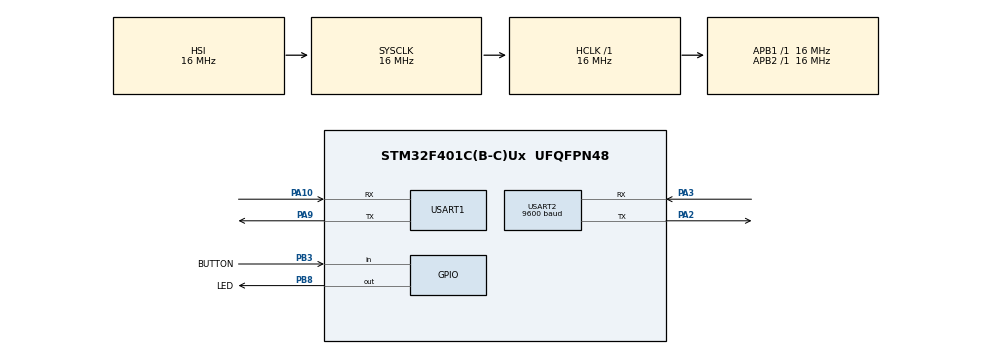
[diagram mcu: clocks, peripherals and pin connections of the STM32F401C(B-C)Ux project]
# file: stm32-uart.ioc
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Mcu.Family=STM32F4
Mcu.Name=STM32F401C(B-C)Ux
Mcu.Package=UFQFPN48
NVIC.PriorityGroup=NVIC_PRIORITYGROUP_4
PA10.Mode=Asynchronous
PA10.Signal=USART1_RX
PA2.Mode=Asynchronous
PA2.Signal=USART2_TX
PA3.Mode=Asynchronous
PA3.Signal=USART2_RX
PA9.Mode=Asynchronous
PA9.Signal=USART1_TX
PB3.GPIO_Label=BUTTON
PB3.GPIO_PuPd=GPIO_PULLDOWN
PB3.Signal=GPIO_Input
PB8.GPIO_Label=LED
PB8.Signal=GPIO_Output
ProjectManager.HeapSize=0x200
ProjectManager.StackSize=0x400
ProjectManager.TargetToolchain=STM32CubeIDE
RCC.AHBFreq_Value=16000000
RCC.APB1Freq_Value=16000000
RCC.APB2Freq_Value=16000000
RCC.CortexFreq_Value=16000000
RCC.HSE_VALUE=25000000
RCC.HSI_VALUE=16000000
RCC.LSE_VALUE=32768
RCC.SYSCLKFreq_VALUE=16000000
RCC.VCOOutputFreq_Value=192000000
USART1.VirtualMode=VM_ASYNC
USART2.BaudRate=9600
USART2.VirtualMode=VM_ASYNC
board=custom

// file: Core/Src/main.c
/* USER CODE BEGIN Header */
/**
  ******************************************************************************
  * @file           : main.c
  * @brief          : Main program body
  ******************************************************************************
  * @attention
  *
  * Copyright (c) 2026 STMicroelectronics.
  * All rights reserved.
  *
  * This software is licensed under terms that can be found in the LICENSE file
  * in the root directory of this software component.
  * If no LICENSE file comes with this software, it is provided AS-IS.
  *
  ******************************************************************************
  */
/* USER CODE END Header */
#include "main.h"

/* USER CODE BEGIN Includes */
#include <stdio.h>
/* USER CODE END Includes */

UART_HandleTypeDef huart1;
UART_HandleTypeDef huart2;

/* USER CODE BEGIN PV */
#define DEBOUNCE_DELAY_MS 50
#define CMD_LED_ON  '+'
#define CMD_LED_OFF '-'
/* USER CODE END PV */

void SystemClock_Config(void);
static void MX_GPIO_Init(void);
static void MX_USART1_UART_Init(void);
static void MX_USART2_UART_Init(void);
/* USER CODE BEGIN PFP */
void setup(void);
void loop(void);
/* USER CODE END PFP */

/* USER CODE BEGIN 0 */
int __io_putchar(int ch) {
    HAL_UART_Transmit(&huart1, (uint8_t *)&ch, 1, 0xFFFF);
    return ch;
}
/* USER CODE END 0 */

int main(void)
{

  /* MCU Configuration--------------------------------------------------------*/

  /* Reset of all peripherals, Initializes the Flash interface and the Systick. */
  HAL_Init();

  /* Configure the system clock */
  SystemClock_Config();

  /* Initialize all configured peripherals */
  MX_GPIO_Init();
  MX_USART1_UART_Init();
  MX_USART2_UART_Init();

  /* Infinite loop */
  /* USER CODE BEGIN WHILE */

  uint8_t rx_byte = 0;
  GPIO_PinState last_btn_state = GPIO_PIN_RESET;
  uint32_t last_debounce_time = 0;
  HAL_GPIO_WritePin(LED_GPIO_Port, LED_Pin, GPIO_PIN_RESET);

  while (1)
  {
      uint32_t now = HAL_GetTick();
      GPIO_PinState btn_state = HAL_GPIO_ReadPin(BUTTON_GPIO_Port, BUTTON_Pin);
      if (btn_state != last_btn_state) {
          if ((now - last_debounce_time) > DEBOUNCE_DELAY_MS) {
              last_debounce_time = now;

              const uint8_t cmd = (btn_state == GPIO_PIN_SET) ? CMD_LED_ON : CMD_LED_OFF;
              printf("Send uart: %c\r\n", cmd);
              // send 1 byte (10 ms timeout - min delay time)
              HAL_UART_Transmit(&huart2, &cmd, 1, 10);
              last_btn_state = btn_state;
          }
      }

      if (HAL_UART_Receive(&huart2, &rx_byte, 1, 1) == HAL_OK) {
          printf("Got: 0x%02X ('%c') \r\n", rx_byte, rx_byte);
          if (CMD_LED_ON == rx_byte) {
              HAL_GPIO_WritePin(LED_GPIO_Port, LED_Pin, GPIO_PIN_SET);
          } else if (CMD_LED_OFF == rx_byte) {
              HAL_GPIO_WritePin(LED_GPIO_Port, LED_Pin, GPIO_PIN_RESET);
          }
      }

    /* USER CODE END WHILE */

  }
}

void SystemClock_Config(void)
{
  RCC_OscInitTypeDef RCC_OscInitStruct = {0};
  RCC_ClkInitTypeDef RCC_ClkInitStruct = {0};

  /** Configure the main internal regulator output voltage
  */
  __HAL_RCC_PWR_CLK_ENABLE();
  __HAL_PWR_VOLTAGESCALING_CONFIG(PWR_REGULATOR_VOLTAGE_SCALE2);

  /** Initializes the RCC Oscillators according to the specified parameters
  * in the RCC_OscInitTypeDef structure.
  */
  RCC_OscInitStruct.OscillatorType = RCC_OSCILLATORTYPE_HSI;
  RCC_OscInitStruct.HSIState = RCC_HSI_ON;
  RCC_OscInitStruct.HSICalibrationValue = RCC_HSICALIBRATION_DEFAULT;
  RCC_OscInitStruct.PLL.PLLState = RCC_PLL_NONE;
  if (HAL_RCC_OscConfig(&RCC_OscInitStruct) != HAL_OK)
  {
    Error_Handler();
  }

  /** Initializes the CPU, AHB and APB buses clocks
  */
  RCC_ClkInitStruct.ClockType = RCC_CLOCKTYPE_HCLK|RCC_CLOCKTYPE_SYSCLK
                              |RCC_CLOCKTYPE_PCLK1|RCC_CLOCKTYPE_PCLK2;
  RCC_ClkInitStruct.SYSCLKSource = RCC_SYSCLKSOURCE_HSI;
  RCC_ClkInitStruct.AHBCLKDivider = RCC_SYSCLK_DIV1;
  RCC_ClkInitStruct.APB1CLKDivider = RCC_HCLK_DIV1;
  RCC_ClkInitStruct.APB2CLKDivider = RCC_HCLK_DIV1;

  if (HAL_RCC_ClockConfig(&RCC_ClkInitStruct, FLASH_LATENCY_0) != HAL_OK)
  {
    Error_Handler();
  }
}

static void MX_USART1_UART_Init(void)
{

  huart1.Instance = USART1;
  huart1.Init.BaudRate = 115200;
  huart1.Init.WordLength = UART_WORDLENGTH_8B;
  huart1.Init.StopBits = UART_STOPBITS_1;
  huart1.Init.Parity = UART_PARITY_NONE;
  huart1.Init.Mode = UART_MODE_TX_RX;
  huart1.Init.HwFlowCtl = UART_HWCONTROL_NONE;
  huart1.Init.OverSampling = UART_OVERSAMPLING_16;
  if (HAL_UART_Init(&huart1) != HAL_OK)
  {
    Error_Handler();
  }

}

static void MX_USART2_UART_Init(void)
{

  huart2.Instance = USART2;
  huart2.Init.BaudRate = 9600;
  huart2.Init.WordLength = UART_WORDLENGTH_8B;
  huart2.Init.StopBits = UART_STOPBITS_1;
  huart2.Init.Parity = UART_PARITY_NONE;
  huart2.Init.Mode = UART_MODE_TX_RX;
  huart2.Init.HwFlowCtl = UART_HWCONTROL_NONE;
  huart2.Init.OverSampling = UART_OVERSAMPLING_16;
  if (HAL_UART_Init(&huart2) != HAL_OK)
  {
    Error_Handler();
  }

}

static void MX_GPIO_Init(void)
{
  GPIO_InitTypeDef GPIO_InitStruct = {0};

  /* GPIO Ports Clock Enable */
  __HAL_RCC_GPIOA_CLK_ENABLE();
  __HAL_RCC_GPIOB_CLK_ENABLE();

  /*Configure GPIO pin Output Level */
  HAL_GPIO_WritePin(LED_GPIO_Port, LED_Pin, GPIO_PIN_RESET);

  /*Configure GPIO pin : BUTTON_Pin */
  GPIO_InitStruct.Pin = BUTTON_Pin;
  GPIO_InitStruct.Mode = GPIO_MODE_INPUT;
  GPIO_InitStruct.Pull = GPIO_PULLDOWN;
  HAL_GPIO_Init(BUTTON_GPIO_Port, &GPIO_InitStruct);

  /*Configure GPIO pin : LED_Pin */
  GPIO_InitStruct.Pin = LED_Pin;
  GPIO_InitStruct.Mode = GPIO_MODE_OUTPUT_PP;
  GPIO_InitStruct.Pull = GPIO_NOPULL;
  GPIO_InitStruct.Speed = GPIO_SPEED_FREQ_LOW;
  HAL_GPIO_Init(LED_GPIO_Port, &GPIO_InitStruct);

}

void Error_Handler(void)
{
  __disable_irq();
  while (1)
  {
  }
}
